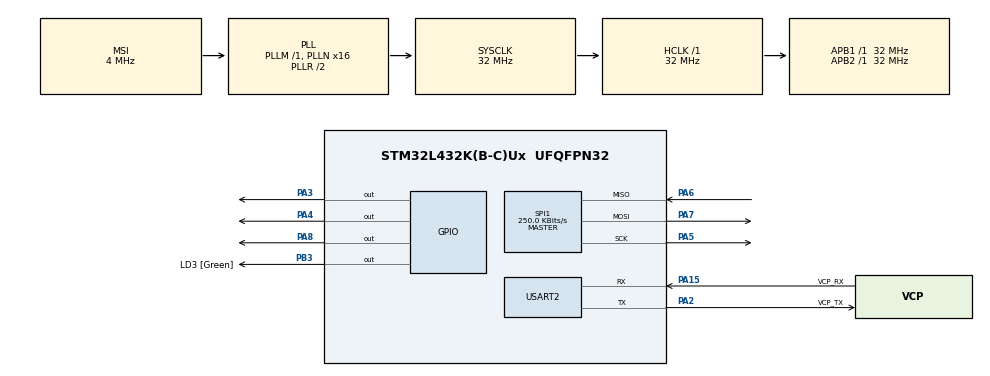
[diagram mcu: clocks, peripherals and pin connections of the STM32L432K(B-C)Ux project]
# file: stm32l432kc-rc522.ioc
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Mcu.Family=STM32L4
Mcu.Name=STM32L432K(B-C)Ux
Mcu.Package=UFQFPN32
NVIC.PriorityGroup=NVIC_PRIORITYGROUP_4
PA0.GPIO_Label=MCO [High speed clock in]
PA0.Mode=HSE-External-Clock-Source-for-LittleOrca
PA0.Signal=RCC_CK_IN
PA13\ (JTMS-SWDIO).GPIO_Label=SWDIO
PA13\ (JTMS-SWDIO).Mode=Serial_Wire
PA13\ (JTMS-SWDIO).Signal=SYS_JTMS-SWDIO
PA14\ (JTCK-SWCLK).GPIO_Label=SWCLK
PA14\ (JTCK-SWCLK).Mode=Serial_Wire
PA14\ (JTCK-SWCLK).Signal=SYS_JTCK-SWCLK
PA15\ (JTDI).GPIO_Label=VCP_RX
PA15\ (JTDI).Mode=Asynchronous
PA15\ (JTDI).Signal=USART2_RX
PA2.GPIO_Label=VCP_TX
PA2.Mode=Asynchronous
PA2.Signal=USART2_TX
PA3.Signal=GPIO_Output
PA4.Signal=GPIO_Output
PA5.Mode=Full_Duplex_Master
PA5.Signal=SPI1_SCK
PA6.Mode=Full_Duplex_Master
PA6.Signal=SPI1_MISO
PA7.Mode=Full_Duplex_Master
PA7.Signal=SPI1_MOSI
PA8.Signal=GPIO_Output
PB3\ (JTDO-TRACESWO).GPIO_Label=LD3 [Green]
PB3\ (JTDO-TRACESWO).Signal=GPIO_Output
PC14-OSC32_IN\ (PC14).Mode=LSE-External-Oscillator
PC14-OSC32_IN\ (PC14).Signal=RCC_OSC32_IN
PC15-OSC32_OUT\ (PC15).Mode=LSE-External-Oscillator
PC15-OSC32_OUT\ (PC15).Signal=RCC_OSC32_OUT
ProjectManager.HeapSize=0x200
ProjectManager.StackSize=0x400
ProjectManager.TargetToolchain=STM32CubeIDE
RCC.AHBFreq_Value=32000000
RCC.APB1Freq_Value=32000000
RCC.APB1TimFreq_Value=32000000
RCC.APB2Freq_Value=32000000
RCC.APB2TimFreq_Value=32000000
RCC.CortexFreq_Value=32000000
RCC.HCLKFreq_Value=32000000
RCC.HSE_VALUE=8000000
RCC.HSI16_VALUE=16000000
RCC.HSI48_VALUE=48000000
RCC.HSI_VALUE=16000000
RCC.MSI_VALUE=4000000
RCC.PLLMUL=RCC_PLLMUL_4
RCC.PLLN=16
RCC.SYSCLKFreq_VALUE=32000000
RCC.SYSCLKSource=RCC_SYSCLKSOURCE_PLLCLK
RCC.VCOOutputFreq_Value=64000000
SPI1.BaudRatePrescaler=SPI_BAUDRATEPRESCALER_128
SPI1.CRCCalculation=SPI_CRCCALCULATION_DISABLE
SPI1.CalculateBaudRate=250.0 KBits/s
SPI1.DataSize=SPI_DATASIZE_8BIT
SPI1.Direction=SPI_DIRECTION_2LINES
SPI1.Mode=SPI_MODE_MASTER
SPI1.NSSPMode=SPI_NSS_PULSE_ENABLE
SPI1.VirtualType=VM_MASTER
USART2.VirtualMode-Asynchronous=VM_ASYNC
board=NUCLEO-L432KC

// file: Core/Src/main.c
/* USER CODE BEGIN Header */
/**
  ******************************************************************************
  * @file           : main.c
  * @brief          : Main program body
  ******************************************************************************
  * @attention
  *
  * Copyright (c) 2026 STMicroelectronics.
  * All rights reserved.
  *
  * This software is licensed under terms that can be found in the LICENSE file
  * in the root directory of this software component.
  * If no LICENSE file comes with this software, it is provided AS-IS.
  *
  ******************************************************************************
  */
/* USER CODE END Header */
#include "main.h"

/* USER CODE BEGIN Includes */
#include <string.h>
#include <stdarg.h>
#include <stdio.h>
#include "driver_mfrc522_basic.h"
#include "driver_mfrc522_interface.h"

/* USER CODE END Includes */

/* USER CODE BEGIN PD */
#define MSG_MAX 256
/*
 * Optional readers 1..3: same SPI1, separate CS. Define before build, e.g. in flags:
 *   -DRC522_READER1_CS_PORT=GPIOB -DRC522_READER1_CS_PIN=GPIO_PIN_0
 * Or add #define lines below. Port NULL = slot unused.
 */

//  #define RC522_READER1_CS_PORT GPIOA
//  #define RC522_READER1_CS_PIN GPIO_PIN_3

#ifndef RC522_READER0_CS_PORT
#define RC522_READER0_CS_PORT GPIOA
#endif
#ifndef RC522_READER0_CS_PIN
#define RC522_READER0_CS_PIN GPIO_PIN_4
#endif

#ifndef RC522_READER1_CS_PORT
#define RC522_READER1_CS_PORT NULL
#endif
#ifndef RC522_READER1_CS_PIN
#define RC522_READER1_CS_PIN 0U
#endif

#ifndef RC522_READER2_CS_PORT
#define RC522_READER2_CS_PORT NULL
#endif
#ifndef RC522_READER2_CS_PIN
#define RC522_READER2_CS_PIN 0U
#endif

#ifndef RC522_READER3_CS_PORT
#define RC522_READER3_CS_PORT NULL
#endif
#ifndef RC522_READER3_CS_PIN
#define RC522_READER3_CS_PIN 0U
#endif

/* User TLV area (page 4+); MF READ returns 16 bytes (4 pages) per command */
#define NTAG_USER_READ_MAX_BYTES 256U
#define NTAG_TEXT_OUT_MAX        240U
/* Last page address that can start a 4-page read (252..255) */
#define NTAG_LAST_READ_START_PAGE 252U
/* Valhalla scan result populated from NDEF content */
typedef struct
{
  char type;           /* single character, from CSV first field */
  char color[9];      /* up to 8 chars + NUL */
  char rune[9];       /* up to 8 chars + NUL */
  uint8_t id;         /* from application/octet-stream payload */
  uint8_t data[8];    /* from application/octet-stream payload */
} valhallaTag;

typedef struct
{
  uint8_t index;
  GPIO_TypeDef *cs_port;
  uint16_t cs_pin;
  uint8_t present;
  uint32_t scan_count;
  uint32_t scan_ok_count;
} rc522_device_t;
/* USER CODE END PD */

SPI_HandleTypeDef hspi1;

UART_HandleTypeDef huart2;

/* USER CODE BEGIN PV */

char msg[MSG_MAX];
static uint8_t s_rc522_log_reader = 0xFFU;
static rc522_device_t s_rc522_devices[MFRC522_INTERFACE_MAX_DEVICES];

/* USER CODE END PV */

void SystemClock_Config(void);
static void MX_GPIO_Init(void);
static void MX_SPI1_Init(void);
static void MX_USART2_UART_Init(void);
/* USER CODE BEGIN PFP */

uint8_t readATQA_then_halt(void);

uint8_t readNTAGPage(uint8_t page, uint8_t *buf, uint8_t *out_len);

/* USER CODE END PFP */

/* USER CODE BEGIN 0 */

static uint8_t rc522_boards_register_all(void);
static rc522_device_t *rc522_find_first_present_device(void);
static uint8_t rc522_select(rc522_device_t *dev);
static void rc522_log_reader_clear(void);
static uint8_t rc522_scan(rc522_device_t *dev, valhallaTag *out_tag);
static uint8_t scanValhallaTag(valhallaTag *out_tag);
static void main_debug_vprint_with_device_id(int showDeviceId, const char *const fmt, va_list args);

void main_debug_print(const char *const fmt, ...)
{
  va_list args;

  va_start(args, fmt);
  main_debug_vprint_with_device_id(1, fmt, args);
  va_end(args);
}

void main_debug_print_with_device_id(int showDeviceId, const char *const fmt, ...)
{
  va_list args;

  va_start(args, fmt);
  main_debug_vprint_with_device_id(showDeviceId, fmt, args);
  va_end(args);
}

static void main_debug_vprint_with_device_id(int showDeviceId, const char *const fmt, va_list args)
{
#ifndef NO_DEBUG_MAIN
    char str[256];
    uint16_t len;
    int off = 0;

    memset((char *)str, 0, sizeof(char) * 256);
    if (s_rc522_log_reader != 0xFFU && showDeviceId == 1)
    {
        off = snprintf(str, sizeof(str), "[R%u] ", (unsigned int)s_rc522_log_reader);
        if (off < 0)
        {
            off = 0;
        }
        if (off >= (int)sizeof(str))
        {
            off = (int)sizeof(str) - 1;
        }
    }

    (void)vsnprintf((char *)str + off, sizeof(str) - (size_t)off, (char const *)fmt, args);

    len = (uint16_t)strlen((char *)str);

    HAL_UART_Transmit(&huart2, (uint8_t*)str, len, HAL_MAX_DELAY);
#endif

}

void main_debug_print_hex(const uint8_t *buf, uint16_t len)
{
    uint16_t i;
    for (i = 0; i < len; i++)
    {
      main_debug_print_with_device_id(0, "0x%02X ", buf[i]);
    }
}

static uint8_t rc522_boards_register_all(void)
{
    static const struct
    {
        GPIO_TypeDef *cs_port;
        uint16_t cs_pin;
    } cs_table[MFRC522_INTERFACE_MAX_DEVICES] = {
        { RC522_READER0_CS_PORT, RC522_READER0_CS_PIN },
        { RC522_READER1_CS_PORT, RC522_READER1_CS_PIN },
        { RC522_READER2_CS_PORT, RC522_READER2_CS_PIN },
        { RC522_READER3_CS_PORT, RC522_READER3_CS_PIN },
    };
    uint8_t i;

    memset(s_rc522_devices, 0, sizeof(s_rc522_devices));

    for (i = 0U; i < MFRC522_INTERFACE_MAX_DEVICES; i++)
    {
        s_rc522_devices[i].index = i;
        s_rc522_devices[i].cs_port = cs_table[i].cs_port;
        s_rc522_devices[i].cs_pin = cs_table[i].cs_pin;

        if (cs_table[i].cs_port == NULL)
        {
            continue;
        }
        if (mfrc522_interface_spi_register_device(i, cs_table[i].cs_port, cs_table[i].cs_pin) != 0)
        {
            main_debug_print("main: rc522_boards_register_all: register reader %u failed.\r\n", i);
            return 1;
        }
        s_rc522_devices[i].present = 1U;
        main_debug_print("main: rc522_boards_register_all: reader %u CS registered.\r\n", i);
    }

    /* After registration, force all configured CS pins high (all readers deselected). */
    for (i = 0U; i < MFRC522_INTERFACE_MAX_DEVICES; i++)
    {
        if (s_rc522_devices[i].present == 0U)
        {
            continue;
        }
        HAL_GPIO_WritePin(cs_table[i].cs_port, cs_table[i].cs_pin, GPIO_PIN_SET);
    }
    main_debug_print("main: rc522_boards_register_all: all configured CS pins set high.\r\n");

    return 0;
}

static rc522_device_t *rc522_find_first_present_device(void)
{
    uint8_t i;

    for (i = 0U; i < MFRC522_INTERFACE_MAX_DEVICES; i++)
    {
        if (s_rc522_devices[i].present != 0U)
        {
            return &s_rc522_devices[i];
        }
    }

    return NULL;
}

static uint8_t rc522_select(rc522_device_t *dev)
{
    if (dev == NULL || dev->index >= MFRC522_INTERFACE_MAX_DEVICES || dev->present == 0U)
    {
        return 1;
    }
    if (mfrc522_interface_spi_select_device(dev->index) != 0)
    {
        return 1;
    }
    s_rc522_log_reader = dev->index;
    return 0;
}

static void rc522_log_reader_clear(void)
{
    s_rc522_log_reader = 0xFFU;
}

static uint8_t rc522_scan(rc522_device_t *dev, valhallaTag *out_tag)
{
    if (dev == NULL || out_tag == NULL)
    {
        return 1;
    }
    if (rc522_select(dev) != 0)
    {
        return 1;
    }

    dev->scan_count++;
    if (scanValhallaTag(out_tag) != 0)
    {
        return 1;
    }
    dev->scan_ok_count++;

    return 0;
}

uint16_t calcCRC(uint8_t* buf, uint16_t len)
{
  // Calc CRC bytes (note this can be done on the rc522)
  uint16_t crc = 0x6363; // Preset value for ISO 14443-3
  for (uint8_t i = 0; i < len; i++) {
      uint8_t ch = buf[i] ^ (uint8_t)(crc & 0x00FF);
      ch = ch ^ (ch << 4);
      crc = (crc >> 8) ^ ((uint16_t)ch << 8) ^ ((uint16_t)ch << 3) ^ (ch >> 4);
  }

  buf[len] = (uint8_t)(crc & 0xFF);        // CRC Low byte
  buf[len+1] = (uint8_t)((crc >> 8) & 0xFF); // CRC High byte

  return crc;
}

static void a_callback(uint16_t type)
{
    switch (type)
    {
        case MFRC522_INTERRUPT_MFIN_ACT :
        {
            main_debug_print("mfrc522: irq mfin act.\n");

            break;
        }
        case MFRC522_INTERRUPT_CRC :
        {
            break;
        }
        case MFRC522_INTERRUPT_TX :
        {
            break;
        }
        case MFRC522_INTERRUPT_RX :
        {
            break;
        }
        case MFRC522_INTERRUPT_IDLE :
        {
            break;
        }
        case MFRC522_INTERRUPT_HI_ALERT :
        {
            break;
        }
        case MFRC522_INTERRUPT_LO_ALERT :
        {
            break;
        }
        case MFRC522_INTERRUPT_ERR :
        {
            main_debug_print("mfrc522: irq err.\n");

            break;
        }
        case MFRC522_INTERRUPT_TIMER :
        {
            main_debug_print("mfrc522: irq timer.\n");

            break;
        }
        default :
        {
            main_debug_print("mfrc522: irq unknown code.\n");

            break;
        }
    }
}

void getInfo(void)
{
  mfrc522_info_t info;

  /* print mfrc522 info */
  mfrc522_info(&info);
  main_debug_print("mfrc522: chip is %s.\n", info.chip_name);
  main_debug_print("mfrc522: manufacturer is %s.\n", info.manufacturer_name);
  main_debug_print("mfrc522: interface is %s.\n", info.interface);
  main_debug_print("mfrc522: driver version is %d.%d.\n", info.driver_version / 1000, (info.driver_version % 1000) / 100);
  main_debug_print("mfrc522: min supply voltage is %0.1fV.\n", info.supply_voltage_min_v);
  main_debug_print("mfrc522: max supply voltage is %0.1fV.\n", info.supply_voltage_max_v);
  main_debug_print("mfrc522: max current is %0.2fmA.\n", info.max_current_ma);
  main_debug_print("mfrc522: max temperature is %0.1fC.\n", info.temperature_max);
  main_debug_print("mfrc522: min temperature is %0.1fC.\n", info.temperature_min);
}

uint8_t initMfrc522()
{
  uint8_t addr = 0x00;
  rc522_device_t *first;

  main_debug_print("main: Initializing mfrc522 as SPI...\r\n");

  /* Phase 1: register every configured CS, then select first reader for basic_init. */
  if (rc522_boards_register_all() != 0)
  {
      return 1;
  }
  first = rc522_find_first_present_device();
  if (first == NULL)
  {
      main_debug_print("main: no RC522 readers configured (all CS ports NULL).\r\n");
      return 1;
  }
  if (rc522_select(first) != 0)
  {
      main_debug_print("main: rc522_select(first) failed.\r\n");
      return 1;
  }

  /* basic int */
  uint8_t res = mfrc522_basic_init(MFRC522_INTERFACE_SPI, addr, a_callback);
  if (res != 0)
  {
      main_debug_print("main: mfrc522_basic_init failed.\r\n");
      return 1;
  }

  return 0;
}

uint8_t getRandom(void)
{
  uint8_t res;
  uint8_t buf[25];

  main_debug_print("main: Getting random generated id...\r\n");

  /* get the random */
  memset(buf, 0, sizeof(buf));
  res = mfrc522_basic_generate_random(buf);
  if (res != 0)
  {
      main_debug_print("main: mfrc522_basic_generate_random failed.\r\n");
      return 1;
  }

  /* output */
  main_debug_print("main: Received random ID:\r\n\t");
  main_debug_print_hex(buf, 25);
  main_debug_print_with_device_id(0, "\r\n");

  return 0;
}

void getVersion(void)
{
	uint8_t res;
	uint8_t id = 0;
	uint8_t version = 0;

  main_debug_print("main: Getting version..\r\n");

  res = mfrc522_get_vesion(&id, &version);
  if (res != 0)
  {
      main_debug_print("main: mfrc522_get_vesion failed.\r\n");
      return;
  }

  main_debug_print("id: %d  version: %d\r\n", id, version);

}

uint8_t readATQA()
{
  uint8_t res;
  uint8_t command = 0x26; // receive
  uint8_t buf[64];
  uint8_t out_len;

  main_debug_print("main: Starting RF...\r\n");
  res = mfrc522_basic_start_rf();
  if (res != 0)
  {
    main_debug_print("main: Starting RF failed.\r\n");
    return 1;
  }
  main_debug_print("main: RF started.\r\n");

  HAL_Delay(500);

  main_debug_print("main: Reading ATQA...\r\n");

  memset(buf, 0, sizeof(buf));
  out_len = sizeof(buf);
  res = mfrc522_basic_transceiver(&command, 1, buf, &out_len); // out_len will be reduced if less data is returned; will not return more than initial value of out_len
  if (res != 0 || out_len == 0)
  {
      main_debug_print("main: mfrc522_basic_transceiver failed.\r\n");
      return 1;
  }

  main_debug_print("main: Received %d bytes of ATQA data: ", out_len);
  main_debug_print_hex(buf, out_len);
  main_debug_print_with_device_id(0, "\r\n");

  return 0;

}

/**
 * ISO 14443-3: WUPA (wake, expect ATQA).
 */
 uint8_t picc_wake(void)
 {
  uint8_t res;
  uint8_t buf[64];
  uint8_t out_len;
  uint8_t wupa = 0x52;

  main_debug_print("main: picc_wake: WUPA...\r\n");
  memset(buf, 0, sizeof(buf));
  out_len = sizeof(buf);
  res = mfrc522_basic_transceiver(&wupa, 1, buf, &out_len);
  if (res != 0 || out_len == 0)
  {
    main_debug_print("main: picc_wake: WUPA failed (expected ATQA bytes).\r\n");
    return 1;
  }

  main_debug_print("main: picc_wake: WUPA response (%u bytes): ", out_len);
  main_debug_print_hex(buf, out_len);
  main_debug_print_with_device_id(0, "\r\n");

  return 0;
}

/**
 * ISO 14443-3: HLTA (halt)
 * HLTA success is silent (no PICC bytes); do not treat out_len==0 as failure for HLTA.
 * Some PICCs only accept HLTA in ACTIVE after select; if HLTA fails, try after full anticollision/select.
 */
uint8_t picc_halt(void)
{
  uint8_t res;
  uint8_t buf[64];
  uint8_t out_len;
  uint8_t hlta[4];

  hlta[0] = 0x50;
  hlta[1] = 0x00;
  calcCRC(hlta, 2);

  main_debug_print("main: picc_halt: HLTA...\r\n");
  memset(buf, 0, sizeof(buf));
  out_len = sizeof(buf);
  res = mfrc522_basic_transceiver(hlta, 4, buf, &out_len);
  if (res != 0)
  {
    main_debug_print("main: picc_halt: HLTA transceive failed.\r\n");
    return 1;
  }
  main_debug_print("main: picc_halt: HLTA done (out_len=%u, expect 0).\r\n", out_len);

  main_debug_print("main: picc_halt: Stopping RF...\r\n");
  res = mfrc522_basic_stop_rf();
  if (res != 0)
  {
    main_debug_print("main: picc_halt: Stopping RF failed.\r\n");
    return 1;
  }
  main_debug_print("main: picc_halt: RF stopped.\r\n");

  return 0;
}

uint8_t readID(void)
{
  uint8_t res;
  uint8_t commandCL1[] = { 0x93, 0x20 };  // mifare anti-coll
  uint8_t commandCL1ACK[] = { 0x93, 0x70, 0x00, 0x00, 0x00, 0x00, 0x00 };  // mifare anti-coll
  uint8_t commandCL2[] = { 0x95, 0x20 };  // mifare anti-col2
  uint8_t commandCL2ACK[] = { 0x95, 0x70, 0x00, 0x00, 0x00, 0x00, 0x00 };  // mifare anti-coll
  uint8_t buf[64];
  uint8_t out_len;

  uint8_t fullId[7];

  if (0 != readATQA()) {
    return 1;
  }

  main_debug_print("main: Reading ID (CL1)...\r\n");

  memset(buf, 0, sizeof(buf));
  out_len = sizeof(buf);
  res = mfrc522_basic_transceiver(commandCL1, 2, buf, &out_len); // out_len will be reduced if less data is returned; will not return more than initial value of out_len
  if (res != 0 || out_len == 0)
  {
      main_debug_print("main: mfrc522_basic_transceiver failed.\r\n");
      return 1;
  }

  main_debug_print("main: Received %d bytes of ID (CL1) data: ", out_len);
  main_debug_print_hex(buf, out_len);
  main_debug_print_with_device_id(0, "\r\n");

  // Copy first 3 bytes of ID
  fullId[0] = buf[1];
  fullId[1] = buf[2];
  fullId[2] = buf[3];

  main_debug_print("main: ACK ID (CL1)...\r\n");

  commandCL1ACK[2] = buf[0];
  commandCL1ACK[3] = buf[1];
  commandCL1ACK[4] = buf[2];
  commandCL1ACK[5] = buf[3];
  commandCL1ACK[6] = buf[4];

  calcCRC(commandCL1ACK, 7);

  memset(buf, 0, sizeof(buf));
  out_len = sizeof(buf);

  res = mfrc522_basic_transceiver(commandCL1ACK, 9, buf, &out_len); // out_len will be reduced if less data is returned; will not return more than initial value of out_len
  if (res != 0 || out_len == 0)
  {
      main_debug_print("main: mfrc522_basic_transceiver failed.\r\n");
      return 1;
  }

  main_debug_print("main: Received %d bytes of ACK ID (CL1) data: ", out_len);
  main_debug_print_hex(buf, out_len);
  main_debug_print_with_device_id(0, "\r\n");

  main_debug_print("main: Reading ID (CL2)...\r\n");

  memset(buf, 0, sizeof(buf));
  out_len = sizeof(buf);
  res = mfrc522_basic_transceiver(commandCL2, 2, buf, &out_len); // out_len will be reduced if less data is returned; will not return more than initial value of out_len
  if (res != 0 || out_len == 0)
  {
      main_debug_print("main: mfrc522_basic_transceiver failed.\r\n");
      return 1;
  }

  main_debug_print("main: Received %d bytes of ID (CL2) data: ", out_len);
  main_debug_print_hex(buf, out_len);
  main_debug_print_with_device_id(0, "\r\n");

  // Copy remaining 5 bytes of ID
  fullId[3] = buf[0];
  fullId[4] = buf[1];
  fullId[5] = buf[2];
  fullId[6] = buf[3];

  main_debug_print("main: ACK ID (CL2)...\r\n");

  commandCL2ACK[2] = buf[0];
  commandCL2ACK[3] = buf[1];
  commandCL2ACK[4] = buf[2];
  commandCL2ACK[5] = buf[3];
  commandCL2ACK[6] = buf[4];

  calcCRC(commandCL2ACK, 7);

  memset(buf, 0, sizeof(buf));
  out_len = sizeof(buf);

  res = mfrc522_basic_transceiver(commandCL2ACK, 9, buf, &out_len); // out_len will be reduced if less data is returned; will not return more than initial value of out_len
  if (res != 0 || out_len == 0)
  {
      main_debug_print("main: mfrc522_basic_transceiver failed.\r\n");
      return 1;
  }

  main_debug_print("main: Received %d bytes of ACK ID (CL1) data: ", out_len);
  main_debug_print_hex(buf, out_len);
  main_debug_print_with_device_id(0, "\r\n");

  main_debug_print("main: Full ID: ");
  main_debug_print_hex(fullId, sizeof(fullId));
  main_debug_print_with_device_id(0, "\r\n\r\n\r\n");

  return 0;
}

/**
 * Ultralight/NTAG PICC read (0x30 + page + CRC_A). Call after anticollision/select (e.g. readID).
 * @param page  NTAG page address
 * @param buf   receive buffer; *out_len is max on entry, actual count on success
 */
uint8_t readNTAGPage(uint8_t page, uint8_t *buf, uint8_t *out_len)
{
  uint8_t res;
  uint8_t cmd[4];

  cmd[0] = 0x30; /* PICC_CMD_MF_READ */
  cmd[1] = page;
  calcCRC(cmd, 2);

  memset(buf, 0, *out_len);
  res = mfrc522_basic_transceiver(cmd, 4, buf, out_len);
  if (res != 0 || *out_len == 0)
  {
    main_debug_print("main: readNTAGPage failed.\r\n");
    return 1;
  }

  return 0;
}

/**
 * Read user TLV area in 16-byte MF READ blocks until Terminator TLV (0xFE 0x00) or buffer full.
 */
static uint8_t ntag_read_user_memory(uint8_t *mem, uint16_t max_len, uint16_t *filled)
{
  uint16_t n = 0;
  uint16_t page;

  for (page = 4; n + 16U <= max_len && page <= NTAG_LAST_READ_START_PAGE; page += 4U)
  {
    uint8_t chunk[16];
    uint8_t clen = sizeof(chunk);

    if (readNTAGPage((uint8_t)page, chunk, &clen) != 0)
    {
      return 1;
    }

    {
      uint8_t to_copy = (clen < 16U) ? clen : 16U;
      memcpy(mem + n, chunk, to_copy);
      n += to_copy;
    }

    if (clen < 16U)
    {
      break;
    }

    for (uint16_t j = 0U; j + 1U < n; j++)
    {
      if (mem[j] == 0xFEU && mem[j + 1U] == 0x00U)
      {
        n = j + 2U;
        *filled = n;
        return 0;
      }
    }
  }

  *filled = n;
  return 0;
}

/**
 * Walk Type 2 TLVs; return first NDEF Message (0x03) value.
 */
static int ntag_find_ndef_message(const uint8_t *mem, uint16_t len,
                                  const uint8_t **ndef_out, uint16_t *ndef_len_out)
{
  uint16_t i = 0;

  while (i + 2U <= len)
  {
    uint8_t t = mem[i];

    if (t == 0xFEU)
    {
      return -1;
    }

    if (t == 0x00U)
    {
      i += 2U;
      continue;
    }

    if (i + 1U >= len)
    {
      return -1;
    }

    {
      uint32_t L;
      uint16_t voff;

      if (mem[i + 1U] == 0xFFU)
      {
        if (i + 5U > len)
        {
          return -1;
        }
        L = ((uint32_t)mem[i + 2U] << 16) | ((uint32_t)mem[i + 3U] << 8) | (uint32_t)mem[i + 4U];
        voff = i + 5U;
      }
      else
      {
        L = mem[i + 1U];
        voff = i + 2U;
      }

      if (t == 0x03U)
      {
        if (voff + L > len)
        {
          return -1;
        }
        *ndef_out = mem + voff;
        *ndef_len_out = (uint16_t)L;
        return 0;
      }

      if (voff + L > len)
      {
        return -1;
      }
      i = voff + (uint16_t)L;
    }
  }

  return -1;
}

/**
 * First NFC Forum well-known Text record ('T') in an NDEF message; UTF-8 payload only.
 */
static int ntag_parse_first_text_record(const uint8_t *ndef, uint16_t ndef_len,
                                        char *text_out, uint16_t text_cap,
                                        char *lang_out, uint16_t lang_cap)
{
  uint16_t i = 0;

  if (lang_out != NULL && lang_cap > 0U)
  {
    lang_out[0] = '\0';
  }

  while (i + 3U <= ndef_len)
  {
    uint8_t flags = ndef[i];
    uint8_t tnf = flags & 0x07U;
    uint8_t sr = (flags >> 4) & 1U;
    uint8_t il = (flags >> 3) & 1U;
    uint8_t type_len = ndef[i + 1U];
    uint32_t plen;
    uint16_t pos = i + 2U;

    if (sr != 0U)
    {
      if (pos >= ndef_len)
      {
        return -1;
      }
      plen = ndef[pos];
      pos++;
    }
    else
    {
      if (pos + 4U > ndef_len)
      {
        return -1;
      }
      plen = ((uint32_t)ndef[pos] << 24) | ((uint32_t)ndef[pos + 1U] << 16)
           | ((uint32_t)ndef[pos + 2U] << 8) | (uint32_t)ndef[pos + 3U];
      pos += 4U;
    }

    {
      uint8_t id_len = 0U;
      if (il != 0U)
      {
        if (pos >= ndef_len)
        {
          return -1;
        }
        id_len = ndef[pos++];
      }

      if (pos + type_len > ndef_len)
      {
        return -1;
      }

      {
        const uint8_t *type_ptr = ndef + pos;
        pos += type_len;
        if (pos + id_len > ndef_len)
        {
          return -1;
        }
        pos += id_len;
        if (pos + plen > ndef_len)
        {
          return -1;
        }

        {
          const uint8_t *payload = ndef + pos;
          pos += (uint16_t)plen;

          if (tnf == 0x01U && type_len == 1U && type_ptr[0] == (uint8_t)'T')
          {
            if (plen == 0U)
            {
              return -1;
            }

            {
              uint8_t status = payload[0];
              uint8_t lang_len = status & 0x3FU;

              if ((status & 0x80U) != 0U)
              {
                /* UTF-16; skip, try next record */
                i = pos;
                continue;
              }

              if (plen < (uint32_t)(1U + lang_len))
              {
                return -1;
              }

              if (lang_out != NULL && lang_cap > 0U)
              {
                uint16_t copy = lang_len;
                if (copy >= lang_cap)
                {
                  copy = (uint16_t)(lang_cap - 1U);
                }
                memcpy(lang_out, payload + 1U, copy);
                lang_out[copy] = '\0';
              }

              {
                uint16_t text_len = (uint16_t)(plen - 1U - (uint32_t)lang_len);
                if (text_len + 1U > text_cap)
                {
                  return -1;
                }
                memcpy(text_out, payload + 1U + lang_len, text_len);
                text_out[text_len] = '\0';
              }

              return 0;
            }
          }
        }

        i = pos;
      }
    }
  }

  return -1;
}

static void trim_ascii(char *s)
{
  size_t len;

  /* trim leading whitespace */
  while ((s[0] == ' ') || (s[0] == '\t') || (s[0] == '\r') || (s[0] == '\n'))
  {
    memmove(s, s + 1, strlen(s));
  }

  len = strlen(s);
  while (len > 0U)
  {
    char c = s[len - 1U];
    if ((c == ' ') || (c == '\t') || (c == '\r') || (c == '\n'))
    {
      s[len - 1U] = '\0';
      len--;
      continue;
    }
    break;
  }
}

static int parse_valhalla_csv_text(const char *csv_text_in, valhallaTag *out_tag)
{
  char csv[NTAG_TEXT_OUT_MAX + 1U];
  char *c1;
  char *c2;

  if ((csv_text_in == NULL) || (out_tag == NULL))
  {
    return -1;
  }

  memset(out_tag, 0, sizeof(*out_tag));
  strncpy(csv, csv_text_in, sizeof(csv) - 1U);
  csv[sizeof(csv) - 1U] = '\0';

  c1 = strchr(csv, ',');
  if (c1 == NULL)
  {
    return -1;
  }
  c2 = strchr(c1 + 1, ',');
  if (c2 == NULL)
  {
    return -1;
  }

  *c1 = '\0';
  *c2 = '\0';

  trim_ascii(csv);
  trim_ascii(c1 + 1U);
  trim_ascii(c2 + 1U);

  if (strlen(csv) != 1U)
  {
    return -1;
  }
  out_tag->type = csv[0];

  if (strlen(c1 + 1U) == 0U || strlen(c1 + 1U) > 8U)
  {
    return -1;
  }
  if (strlen(c2 + 1U) == 0U || strlen(c2 + 1U) > 8U)
  {
    return -1;
  }

  strncpy(out_tag->color, c1 + 1U, sizeof(out_tag->color) - 1U);
  out_tag->color[sizeof(out_tag->color) - 1U] = '\0';

  strncpy(out_tag->rune, c2 + 1U, sizeof(out_tag->rune) - 1U);
  out_tag->rune[sizeof(out_tag->rune) - 1U] = '\0';

  return 0;
}

static int ntag_find_first_mime_payload(const uint8_t *ndef, uint16_t ndef_len,
                                          const char *mime_type,
                                          const uint8_t **payload_out, uint32_t *payload_len_out)
{
  const size_t mime_len = (mime_type != NULL) ? strlen(mime_type) : 0U;
  uint16_t i = 0;
  uint16_t rec_idx = 0;

  if ((ndef == NULL) || (ndef_len == 0U) || (mime_type == NULL) || payload_out == NULL || payload_len_out == NULL)
  {
    main_debug_print("main: ntag_find_first_mime_payload: invalid args.\r\n");
    return -1;
  }

  main_debug_print("main: ntag_find_first_mime_payload: searching for MIME \"%s\" in %u bytes.\r\n",
                   mime_type, ndef_len);

  /* Walk NDEF records sequentially and return the payload for the first matching MIME type. */
  while (i + 3U <= ndef_len)
  {
    uint8_t flags = ndef[i];
    uint8_t tnf = flags & 0x07U;
    uint8_t sr = (flags >> 4) & 1U;
    uint8_t il = (flags >> 3) & 1U;
    uint8_t type_len = ndef[i + 1U];
    uint32_t plen;
    uint16_t pos = i + 2U;

    if (sr != 0U)
    {
      if (pos >= ndef_len)
      {
        main_debug_print("main: ntag_find_first_mime_payload: malformed record %u (short payload len out of range).\r\n", rec_idx);
        return -1;
      }
      plen = ndef[pos];
      pos++;
    }
    else
    {
      if (pos + 4U > ndef_len)
      {
        main_debug_print("main: ntag_find_first_mime_payload: malformed record %u (long payload len out of range).\r\n", rec_idx);
        return -1;
      }
      plen = ((uint32_t)ndef[pos] << 24) | ((uint32_t)ndef[pos + 1U] << 16)
           | ((uint32_t)ndef[pos + 2U] << 8) | (uint32_t)ndef[pos + 3U];
      pos += 4U;
    }

    {
      uint8_t id_len = 0U;
      if (il != 0U)
      {
        if (pos >= ndef_len)
        {
          main_debug_print("main: ntag_find_first_mime_payload: malformed record %u (id len out of range).\r\n", rec_idx);
          return -1;
        }
        id_len = ndef[pos++];
      }

      if (pos + type_len > ndef_len)
      {
        main_debug_print("main: ntag_find_first_mime_payload: malformed record %u (type out of range).\r\n", rec_idx);
        return -1;
      }

      {
        const uint8_t *type_ptr = ndef + pos;
        pos += type_len;

        if (pos + id_len > ndef_len)
        {
          main_debug_print("main: ntag_find_first_mime_payload: malformed record %u (id out of range).\r\n", rec_idx);
          return -1;
        }
        pos += id_len;

        if (pos + plen > ndef_len)
        {
          main_debug_print("main: ntag_find_first_mime_payload: malformed record %u (payload out of range).\r\n", rec_idx);
          return -1;
        }

        main_debug_print("main: ntag_find_first_mime_payload: record %u tnf=%u sr=%u il=%u type_len=%u payload_len=%lu\r\n",
                         rec_idx, tnf, sr, il, type_len, (unsigned long)plen);
        main_debug_print("main: ntag_find_first_mime_payload: record %u type=\"", rec_idx);
        for (uint8_t k = 0U; k < type_len; k++)
        {
          char c = (char)type_ptr[k];
          if (c >= 32 && c <= 126)
          {
            main_debug_print("%c", c);
          }
          else
          {
            main_debug_print("\\x%02X", (unsigned int)type_ptr[k]);
          }
        }
        main_debug_print("\"\r\n");

        {
          const uint8_t *payload = ndef + pos;

          /* MIME records are identified by exact type string match (TNF is logged, not enforced). */
          if ((type_len == mime_len) && (memcmp(type_ptr, mime_type, mime_len) == 0))
          {
            main_debug_print("main: ntag_find_first_mime_payload: MIME match at record %u, payload_len=%lu.\r\n",
                             rec_idx, (unsigned long)plen);
            *payload_out = payload;
            *payload_len_out = plen;
            return 0;
          }
        }

        pos += (uint16_t)plen;
        i = pos;
        rec_idx++;
      }
    }
  }

  main_debug_print("main: ntag_find_first_mime_payload: MIME \"%s\" not found.\r\n", mime_type);
  return -1;
}

static uint8_t scanValhallaTag(valhallaTag *out_tag)
{
  uint8_t mem[NTAG_USER_READ_MAX_BYTES];
  uint16_t filled = 0;
  const uint8_t *ndef = NULL;
  uint16_t ndef_len = 0;
  char text[NTAG_TEXT_OUT_MAX + 1U];
  char lang[8];
  const uint8_t *mime_payload = NULL;
  uint32_t mime_len = 0;

  if (out_tag == NULL)
  {
    return 1;
  }

  memset(mem, 0, sizeof(mem));

  /* NTAG read requires ATQA + anticollision + cascade select first */
  if (readID() != 0)
  {
    return 1;
  }

  main_debug_print("main: Reading NTAG user memory (TLV / NDEF)...\r\n");
  if (ntag_read_user_memory(mem, (uint16_t)sizeof(mem), &filled) != 0)
  {
    return 1;
  }

  main_debug_print("main: Raw user area (%u bytes): ", filled);
  main_debug_print_hex(mem, filled);
  main_debug_print_with_device_id(0, "\r\n");

  if (ntag_find_ndef_message(mem, filled, &ndef, &ndef_len) != 0)
  {
    main_debug_print("main: No NDEF Message TLV (0x03) or incomplete data.\r\n");
    return 1;
  }

  main_debug_print("main: NDEF message length %u bytes.\r\n", ndef_len);

  if (ntag_parse_first_text_record(ndef, ndef_len, text, NTAG_TEXT_OUT_MAX, lang, sizeof(lang)) != 0)
  {
    main_debug_print("main: No NFC Forum Text record ('T') in NDEF message.\r\n");
    return 1;
  }

  main_debug_print("main: NDEF Text language: \"%s\"\r\n", lang);
  main_debug_print("main: NDEF Text payload: \"%s\"\r\n", text);

  if (parse_valhalla_csv_text(text, out_tag) != 0)
  {
    main_debug_print("main: Valhalla text is not compliant (expected: type,color,rune within limits). Ignoring scan.\r\n");
    return 1;
  }

  /* MIME payload layout: [0]=id, [1..8]=data bytes (copy what is present, zero-fill the rest). */
  {
    static const char mime_type[] = "bin/vhla";
    if (ntag_find_first_mime_payload(ndef, ndef_len, mime_type, &mime_payload, &mime_len) == 0)
    {
      main_debug_print("main: MIME payload found, len=%lu\r\n", (unsigned long)mime_len);
      if (mime_payload != NULL && mime_len > 0U)
      {
        out_tag->id = mime_payload[0];
        memset(out_tag->data, 0, sizeof(out_tag->data));
        {
          uint32_t available = (mime_len > 1U) ? (mime_len - 1U) : 0U;
          uint32_t copy_len = (available > (uint32_t)sizeof(out_tag->data)) ? (uint32_t)sizeof(out_tag->data) : available;
          if (copy_len > 0U)
          {
            memcpy(out_tag->data, mime_payload + 1U, (size_t)copy_len);
          }
        }
      }
    }
    else
    {
      main_debug_print("main: MIME payload not found; leaving id/data defaults.\r\n");
    }
  }

  return 0;
}

uint8_t readNTAG(void)
{
  rc522_device_t *dev;
  valhallaTag tag;

  if (s_rc522_log_reader == 0xFFU || s_rc522_log_reader >= MFRC522_INTERFACE_MAX_DEVICES)
  {
    main_debug_print("main: readNTAG: no active reader selected.\r\n");
    return 1;
  }
  dev = &s_rc522_devices[s_rc522_log_reader];

  memset(&tag, 0, sizeof(tag));
  if (rc522_scan(dev, &tag) != 0)
  {
    return 1;
  }

  main_debug_print("main: ValhallaTag => type='%c', color=\"%s\", rune=\"%s\", id=0x%02X, data=",
                    tag.type, tag.color, tag.rune, tag.id);
  main_debug_print_hex(tag.data, 8U);
  main_debug_print_with_device_id(0, "\r\n\r\n\r\n");

  return 0;
}

/* USER CODE END 0 */

int main(void)
{

  /* MCU Configuration--------------------------------------------------------*/

  /* Reset of all peripherals, Initializes the Flash interface and the Systick. */
  HAL_Init();

  /* Configure the system clock */
  SystemClock_Config();

  /* Initialize all configured peripherals */
  MX_GPIO_Init();
  MX_SPI1_Init();
  MX_USART2_UART_Init();
  /* USER CODE BEGIN 2 */

  snprintf(msg, MSG_MAX, "Startup\r\n");
  HAL_UART_Transmit(&huart2, (uint8_t*)msg, strlen(msg), HAL_MAX_DELAY);

  getInfo();

  /* USER CODE END 2 */

  /* Infinite loop */
  /* USER CODE BEGIN WHILE */
  while (0 != initMfrc522()) {
    // Retry init every 5 seconds
    HAL_Delay(5000);
  }

  int i = 0;
  while (1)
  {
    /* USER CODE END WHILE */

    /* USER CODE BEGIN 3 */
    uint8_t r;

    HAL_GPIO_TogglePin(GPIOB, GPIO_PIN_3);
    HAL_Delay(100);
    HAL_GPIO_TogglePin(GPIOB, GPIO_PIN_3);
    HAL_Delay(1000);

    snprintf(msg, MSG_MAX, "\r\nLoop: %d\r\n", ++i);
    HAL_UART_Transmit(&huart2, (uint8_t*)msg, strlen(msg), HAL_MAX_DELAY);

//    getVersion();

//    getRandom();

//    readATQA();

//    readID();

    /* Round-robin: each configured reader gets a scan on the shared SPI bus. */
    for (r = 0U; r < MFRC522_INTERFACE_MAX_DEVICES; r++)
    {
      rc522_device_t *dev = &s_rc522_devices[r];
      valhallaTag tag;

      if (dev->present == 0U)
      {
        continue;
      }
      memset(&tag, 0, sizeof(tag));
      if (rc522_scan(dev, &tag) != 0)
      {
        main_debug_print("main: loop: rc522_scan(reader=%u) failed.\r\n", dev->index);
        continue;
      }

      main_debug_print("main: ValhallaTag => type='%c', color=\"%s\", rune=\"%s\", id=0x%02X, data=",
                      tag.type, tag.color, tag.rune, tag.id);
      main_debug_print_hex(tag.data, 8U);
      main_debug_print_with_device_id(0, "\r\n");

      (void)picc_halt();
    }
    rc522_log_reader_clear();

  }
  /* USER CODE END 3 */
}

void SystemClock_Config(void)
{
  RCC_OscInitTypeDef RCC_OscInitStruct = {0};
  RCC_ClkInitTypeDef RCC_ClkInitStruct = {0};

  /** Configure the main internal regulator output voltage
  */
  if (HAL_PWREx_ControlVoltageScaling(PWR_REGULATOR_VOLTAGE_SCALE1) != HAL_OK)
  {
    Error_Handler();
  }

  /** Configure LSE Drive Capability
  */
  HAL_PWR_EnableBkUpAccess();
  __HAL_RCC_LSEDRIVE_CONFIG(RCC_LSEDRIVE_LOW);

  /** Initializes the RCC Oscillators according to the specified parameters
  * in the RCC_OscInitTypeDef structure.
  */
  RCC_OscInitStruct.OscillatorType = RCC_OSCILLATORTYPE_LSE|RCC_OSCILLATORTYPE_MSI;
  RCC_OscInitStruct.LSEState = RCC_LSE_ON;
  RCC_OscInitStruct.MSIState = RCC_MSI_ON;
  RCC_OscInitStruct.MSICalibrationValue = 0;
  RCC_OscInitStruct.MSIClockRange = RCC_MSIRANGE_6;
  RCC_OscInitStruct.PLL.PLLState = RCC_PLL_ON;
  RCC_OscInitStruct.PLL.PLLSource = RCC_PLLSOURCE_MSI;
  RCC_OscInitStruct.PLL.PLLM = 1;
  RCC_OscInitStruct.PLL.PLLN = 16;
  RCC_OscInitStruct.PLL.PLLP = RCC_PLLP_DIV7;
  RCC_OscInitStruct.PLL.PLLQ = RCC_PLLQ_DIV2;
  RCC_OscInitStruct.PLL.PLLR = RCC_PLLR_DIV2;
  if (HAL_RCC_OscConfig(&RCC_OscInitStruct) != HAL_OK)
  {
    Error_Handler();
  }

  /** Initializes the CPU, AHB and APB buses clocks
  */
  RCC_ClkInitStruct.ClockType = RCC_CLOCKTYPE_HCLK|RCC_CLOCKTYPE_SYSCLK
                              |RCC_CLOCKTYPE_PCLK1|RCC_CLOCKTYPE_PCLK2;
  RCC_ClkInitStruct.SYSCLKSource = RCC_SYSCLKSOURCE_PLLCLK;
  RCC_ClkInitStruct.AHBCLKDivider = RCC_SYSCLK_DIV1;
  RCC_ClkInitStruct.APB1CLKDivider = RCC_HCLK_DIV1;
  RCC_ClkInitStruct.APB2CLKDivider = RCC_HCLK_DIV1;

  if (HAL_RCC_ClockConfig(&RCC_ClkInitStruct, FLASH_LATENCY_1) != HAL_OK)
  {
    Error_Handler();
  }

  /** Enable MSI Auto calibration
  */
  HAL_RCCEx_EnableMSIPLLMode();
}

static void MX_SPI1_Init(void)
{

  /* SPI1 parameter configuration*/
  hspi1.Instance = SPI1;
  hspi1.Init.Mode = SPI_MODE_MASTER;
  hspi1.Init.Direction = SPI_DIRECTION_2LINES;
  hspi1.Init.DataSize = SPI_DATASIZE_8BIT;
  hspi1.Init.CLKPolarity = SPI_POLARITY_LOW;
  hspi1.Init.CLKPhase = SPI_PHASE_1EDGE;
  hspi1.Init.NSS = SPI_NSS_SOFT;
  hspi1.Init.BaudRatePrescaler = SPI_BAUDRATEPRESCALER_128;
  hspi1.Init.FirstBit = SPI_FIRSTBIT_MSB;
  hspi1.Init.TIMode = SPI_TIMODE_DISABLE;
  hspi1.Init.CRCCalculation = SPI_CRCCALCULATION_DISABLE;
  hspi1.Init.CRCPolynomial = 7;
  hspi1.Init.CRCLength = SPI_CRC_LENGTH_DATASIZE;
  hspi1.Init.NSSPMode = SPI_NSS_PULSE_ENABLE;
  if (HAL_SPI_Init(&hspi1) != HAL_OK)
  {
    Error_Handler();
  }

}

static void MX_USART2_UART_Init(void)
{

  huart2.Instance = USART2;
  huart2.Init.BaudRate = 115200;
  huart2.Init.WordLength = UART_WORDLENGTH_8B;
  huart2.Init.StopBits = UART_STOPBITS_1;
  huart2.Init.Parity = UART_PARITY_NONE;
  huart2.Init.Mode = UART_MODE_TX_RX;
  huart2.Init.HwFlowCtl = UART_HWCONTROL_NONE;
  huart2.Init.OverSampling = UART_OVERSAMPLING_16;
  huart2.Init.OneBitSampling = UART_ONE_BIT_SAMPLE_DISABLE;
  huart2.AdvancedInit.AdvFeatureInit = UART_ADVFEATURE_NO_INIT;
  if (HAL_UART_Init(&huart2) != HAL_OK)
  {
    Error_Handler();
  }

}

static void MX_GPIO_Init(void)
{
  GPIO_InitTypeDef GPIO_InitStruct = {0};

  /* GPIO Ports Clock Enable */
  __HAL_RCC_GPIOC_CLK_ENABLE();
  __HAL_RCC_GPIOA_CLK_ENABLE();
  __HAL_RCC_GPIOB_CLK_ENABLE();

  /*Configure GPIO pin Output Level */
  HAL_GPIO_WritePin(GPIOA, GPIO_PIN_3|GPIO_PIN_4|GPIO_PIN_8, GPIO_PIN_RESET);

  /*Configure GPIO pin Output Level */
  HAL_GPIO_WritePin(LD3_GPIO_Port, LD3_Pin, GPIO_PIN_RESET);

  /*Configure GPIO pins : PA3 PA4 PA8 */
  GPIO_InitStruct.Pin = GPIO_PIN_3|GPIO_PIN_4|GPIO_PIN_8;
  GPIO_InitStruct.Mode = GPIO_MODE_OUTPUT_PP;
  GPIO_InitStruct.Pull = GPIO_NOPULL;
  GPIO_InitStruct.Speed = GPIO_SPEED_FREQ_LOW;
  HAL_GPIO_Init(GPIOA, &GPIO_InitStruct);

  /*Configure GPIO pin : LD3_Pin */
  GPIO_InitStruct.Pin = LD3_Pin;
  GPIO_InitStruct.Mode = GPIO_MODE_OUTPUT_PP;
  GPIO_InitStruct.Pull = GPIO_NOPULL;
  GPIO_InitStruct.Speed = GPIO_SPEED_FREQ_LOW;
  HAL_GPIO_Init(LD3_GPIO_Port, &GPIO_InitStruct);

}

void Error_Handler(void)
{
  /* USER CODE BEGIN Error_Handler_Debug */
  /* User can add his own implementation to report the HAL error return state */
  __disable_irq();

  /* basic deinit */
  mfrc522_basic_deinit();

  while (1)
  {
  }
  /* USER CODE END Error_Handler_Debug */
}
